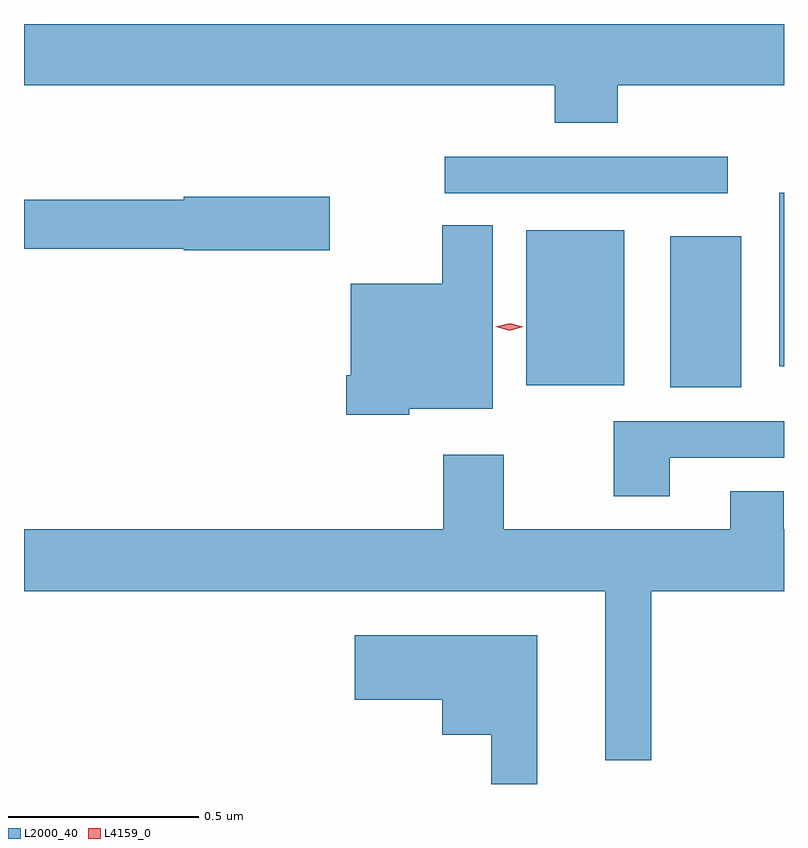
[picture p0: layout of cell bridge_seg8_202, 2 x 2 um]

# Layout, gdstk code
import gdstk
lib = gdstk.Library(unit=1e-6, precision=1e-09)
def R(c, l, rs):  # rectangles x0, y0, x1, y1
    for r in rs: c.add(gdstk.rectangle(r[:2], r[2:], *l))
def P(c, l, *ps):  # polygons
    for p in ps: c.add(gdstk.Polygon(p, *l))
L2000_40 = (2000, 40)
L4159_0 = (4159, 0)

bridge_seg8_202 = lib.new_cell('bridge_seg8_202')
R(bridge_seg8_202, L2000_40, [(336.458,1117.037,336.646,1117.435), (336.08,1117.043,336.337,1117.45), (336.746,1117.092,336.758,1117.549), (335.865,1117.548,336.61,1117.644)])
P(bridge_seg8_202, L2000_40, [(336.32,1117.832),(336.758,1117.832),(336.758,1117.993),(334.758,1117.993),(334.758,1117.832),(336.155,1117.832),(336.155,1117.733),(336.32,1117.733)],
  [(335.563,1117.539),(335.178,1117.539),(335.178,1117.531),(334.758,1117.531),(334.758,1117.402),(335.178,1117.402),(335.178,1117.397),(335.563,1117.397)],
  [(335.772,1116.98),(335.992,1116.98),(335.992,1117.463),(335.858,1117.463),(335.858,1117.309),(335.618,1117.309),(335.618,1117.069),(335.606,1117.069),(335.606,1116.965),(335.772,1116.965)],
  [(336.457,1116.852),(336.758,1116.852),(336.758,1116.948),(336.31,1116.948),(336.31,1116.75),(336.457,1116.75)],
  [(336.409,1116.5),(336.758,1116.5),(336.758,1116.664),(336.757,1116.664),(336.757,1116.763),(336.617,1116.763),(336.617,1116.664),(336.021,1116.664),(336.021,1116.859),(335.861,1116.859),(335.861,1116.664),(334.758,1116.664),(334.758,1116.5),(336.287,1116.5),(336.287,1116.056),(336.409,1116.056)],
  [(336.109,1116.385),(335.628,1116.385),(335.628,1116.215),(335.858,1116.215),(335.858,1116.122),(335.988,1116.122),(335.988,1115.993),(336.109,1115.993)])
P(bridge_seg8_202, L4159_0, [(336.036,1117.186),(336,1117.196),(335.999,1117.196),(336,1117.196),(336.036,1117.206),(336.072,1117.196),(336.072,1117.196),(336.072,1117.196)])

lib.write_gds('bridge_seg8_202.gds')
